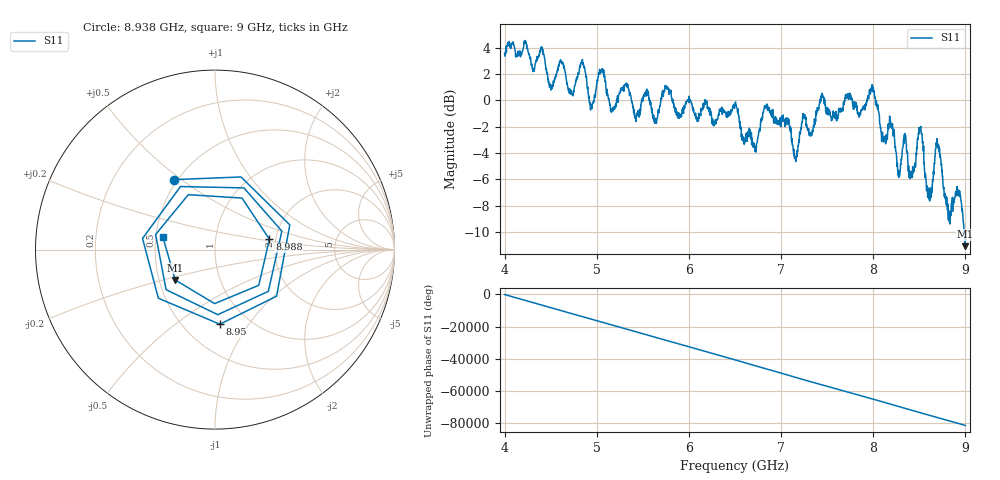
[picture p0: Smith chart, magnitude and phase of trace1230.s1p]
! Created with skrf 1.8.0 (http://scikit-rf.org).
# Hz S RI R 50.0
!freq ReS11 ImS11
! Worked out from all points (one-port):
!   1601 points, 4 GHz to 9 GHz, reference 50 ohm
!   lowest |S11| = -11.1 dB at 8.997 GHz (marker M1), VSWR 1.77, Z = 30.3 - j11.1 ohm
!   |S11| at or under -10 dB: 8.986008 GHz to end of sweep
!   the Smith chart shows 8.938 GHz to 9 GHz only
!   S11 on the Smith chart (normalised r, x): 8.938 GHz: 0.48, +0.47; 8.95 GHz: 0.74, -0.74; 8.988 GHz: 1.85, +0.24; 9 GHz: 0.54, +0.09
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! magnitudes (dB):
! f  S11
! 4 GHz  3.6
! 4.406 GHz  4.0
! 4.5 GHz  1.1
! 4.625 GHz  2.8
! 4.728 GHz  0.5
! 4.85 GHz  2.9
! 4.944 GHz  -0.5
! 5.044 GHz  2.2
! 5.162 GHz  -0.8
! 5.25 GHz  0.6
! 5.875 GHz  -1.1
! 6.5 GHz  -0.2
! 6.594 GHz  -2.8
! 6.841 GHz  -0.6
! 7.125 GHz  -3.4
! 7.75 GHz  0.1
! 7.997 GHz  0.9
! 8.275 GHz  -5.9
! 8.375 GHz  -4.7
! 8.506 GHz  -2.1
! 8.603 GHz  -7.5
! 8.694 GHz  -3.2
! 8.819 GHz  -8.4
! 8.938 GHz  -6.9
! 8.95 GHz  -7.6
! 8.988 GHz  -10.2
! 8.997 GHz  -11.1
! 9 GHz  -10.5
